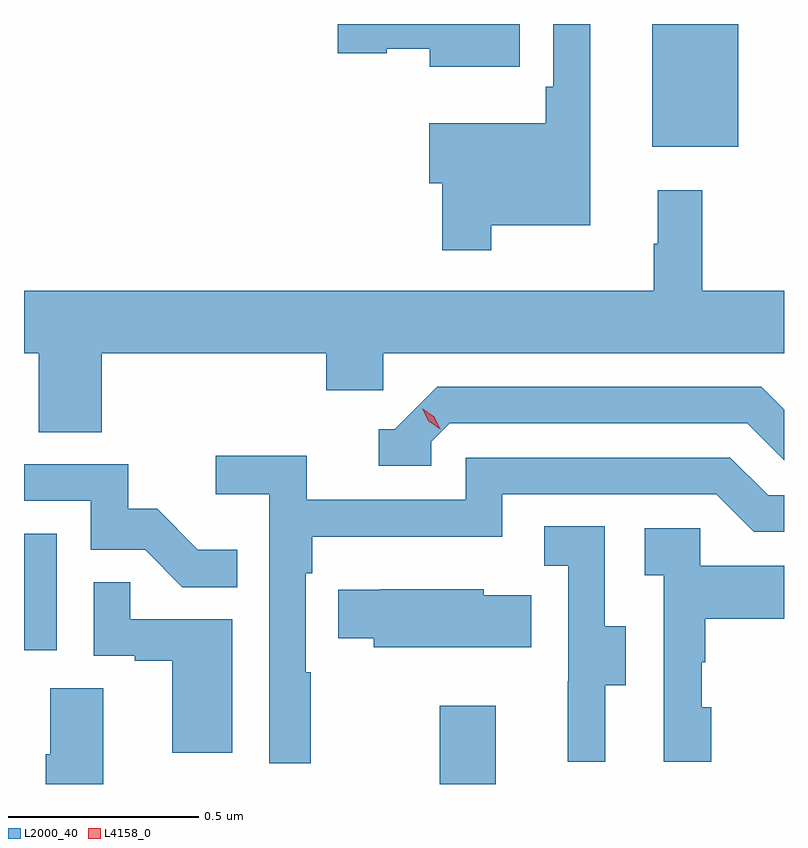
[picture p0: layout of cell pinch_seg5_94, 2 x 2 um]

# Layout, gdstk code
import gdstk
lib = gdstk.Library(unit=1e-6, precision=1e-09)
def R(c, l, rs):  # rectangles x0, y0, x1, y1
    for r in rs: c.add(gdstk.rectangle(r[:2], r[2:], *l))
def P(c, l, *ps):  # polygons
    for p in ps: c.add(gdstk.Polygon(p, *l))
L2000_40 = (2000, 40)
L4158_0 = (4158, 0)

pinch_seg5_94 = lib.new_cell('pinch_seg5_94')
R(pinch_seg5_94, L2000_40, [(1031.848,896.918,1031.995,897.124), (1030.754,897.27,1030.84,897.577), (1032.407,898.595,1032.634,898.918)])
P(pinch_seg5_94, L2000_40, [(1032.058,898.918),(1031.58,898.918),(1031.58,898.841),(1031.709,898.841),(1031.709,898.853),(1031.822,898.853),(1031.822,898.805),(1032.058,898.805)],
  [(1031.983,898.388),(1032.244,898.388),(1032.244,898.918),(1032.147,898.918),(1032.147,898.753),(1032.127,898.753),(1032.127,898.657),(1031.82,898.657),(1031.82,898.499),(1031.854,898.499),(1031.854,898.323),(1031.983,898.323)],
  [(1032.422,898.48),(1032.422,898.34),(1032.411,898.34),(1032.411,898.216),(1030.754,898.216),(1030.754,898.052),(1030.793,898.052),(1030.793,897.844),(1030.958,897.844),(1030.958,898.052),(1031.549,898.052),(1031.549,897.954),(1031.7,897.954),(1031.7,898.052),(1032.754,898.052),(1032.754,898.216),(1032.539,898.216),(1032.539,898.48)],
  [(1031.826,897.819),(1031.874,897.867),(1032.657,897.867),(1032.754,897.77),(1032.754,897.903),(1032.694,897.963),(1031.841,897.963),(1031.73,897.852),(1031.687,897.852),(1031.687,897.756),(1031.826,897.756)],
  [(1031.509,897.212),(1031.496,897.212),(1031.496,897.473),(1031.513,897.473),(1031.513,897.569),(1032.012,897.569),(1032.012,897.681),(1032.576,897.681),(1032.675,897.582),(1032.754,897.582),(1032.754,897.678),(1032.712,897.678),(1032.613,897.777),(1031.916,897.777),(1031.916,897.666),(1031.498,897.666),(1031.498,897.782),(1031.259,897.782),(1031.259,897.68),(1031.4,897.68),(1031.4,896.973),(1031.509,896.973)],
  [(1031.315,897.535),(1031.211,897.535),(1031.104,897.642),(1031.028,897.642),(1031.028,897.759),(1030.754,897.759),(1030.754,897.663),(1030.929,897.663),(1030.929,897.534),(1031.073,897.534),(1031.171,897.436),(1031.315,897.436)],
  [(1032.283,897.178),(1032.337,897.178),(1032.337,897.333),(1032.282,897.333),(1032.282,897.596),(1032.123,897.596),(1032.123,897.493),(1032.186,897.493),(1032.186,897.189),(1032.185,897.189),(1032.185,896.976),(1032.283,896.976)],
  [(1032.562,897.12),(1032.537,897.12),(1032.537,897.239),(1032.547,897.239),(1032.547,897.353),(1032.754,897.353),(1032.754,897.493),(1032.534,897.493),(1032.534,897.591),(1032.387,897.591),(1032.387,897.467),(1032.438,897.467),(1032.438,896.976),(1032.562,896.976)],
  [(1031.302,897.351),(1031.033,897.351),(1031.033,897.449),(1030.938,897.449),(1030.938,897.255),(1031.045,897.255),(1031.045,897.243),(1031.144,897.243),(1031.144,897),(1031.302,897)],
  [(1032.089,897.415),(1031.964,897.415),(1031.964,897.43),(1031.692,897.43),(1031.692,897.429),(1031.581,897.429),(1031.581,897.301),(1031.675,897.301),(1031.675,897.278),(1032.089,897.278)],
  [(1030.963,897.17),(1030.823,897.17),(1030.823,896.996),(1030.811,896.996),(1030.811,896.918),(1030.963,896.918)])
P(pinch_seg5_94, L4158_0, [(1031.849,897.852),(1031.819,897.872),(1031.802,897.905),(1031.802,897.905),(1031.803,897.905),(1031.833,897.885),(1031.85,897.853),(1031.85,897.852)])

lib.write_gds('pinch_seg5_94.gds')
